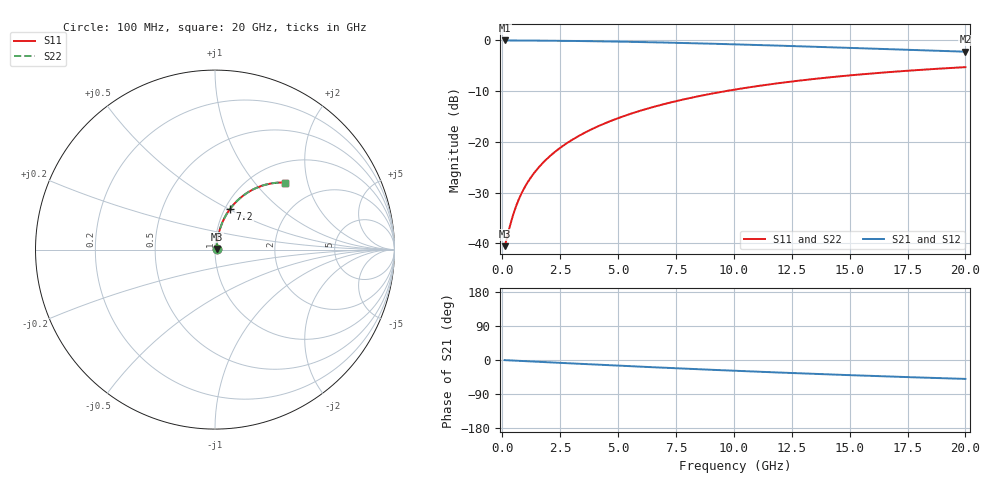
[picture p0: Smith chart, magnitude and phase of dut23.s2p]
! Touchstone file exported from HFSS 2024.1.0
!  File:  C:/UserFiles/LocalFiles/RDL_TSV_Batchsim/temp_RDL_bottom_23_1778691817.aedt
!  Generated:  01:06:07 AM May 14, 2026
!  Design:  RDL_bottom
!  Project:  temp_RDL_bottom_23_1778691817
!  Setup:  Setup1
!  Solution:  Sweep
! Variables:
!  dtsv = 10.80580581um
!  hbump = 3um
!  htsv = 93.98um
!  ldown = 628.28um
!  lrdl = 100um
!  p = 40
!  p1 = 52.46um
!  rhole = 1um
!  t = 450um
!  tdown = 2.02um
!  trdl = 3.915915916um
!  wdown = 12.77um
!  wrdl = 20um
# GHz S MA R 50.000000
! Terminal data exported
! Port[1] = RDL1_T1
! Port[2] = RDL1_T2
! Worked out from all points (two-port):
!   200 points, 100 MHz to 20 GHz, reference 50 ohm
!   highest |S21| = -0.08 dB at 100 MHz (marker M1); lowest = -2.3 dB at 20 GHz (marker M2)
!   |S21| within 3 dB of the highest: start of sweep to end of sweep
!   lowest |S11| = -40.5 dB at 100 MHz (marker M3), VSWR 1.02, Z = 50.9 + j0.366 ohm
!   |S11| at or under -10 dB: start of sweep to 9.697 GHz
!   |S22| runs from -40.5 to -5.3 dB; largest |S21 - S12| = 3.2e-15
!   S11 on the Smith chart (normalised r, x): 100 MHz: 1.02, +0.01; 7.2 GHz: 1.06, +0.51; 20 GHz: 1.39, +1.47
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0.1  0.009411 22.5  0.9913 -0.3  0.9913 -0.3  0.009411 22.5
! Gamma 0 0 0 0
! Port Impedance 50 0 50 0
0.4  0.01698 57.4  0.9909 -1.2  0.9909 -1.2  0.01698 57.4
0.6  0.02342 65.5  0.9905 -1.9  0.9905 -1.9  0.02342 65.5
0.7  0.02673 68.0  0.9902 -2.2  0.9902 -2.2  0.02673 68.0
0.9  0.03341 71.2  0.9897 -2.8  0.9897 -2.8  0.03341 71.2
1.2  0.04348 74.0  0.9887 -3.7  0.9887 -3.7  0.04348 74.0
1.4  0.0502 75.1  0.988 -4.3  0.988 -4.3  0.0502 75.1
1.7  0.06028 76.1  0.9869 -5.2  0.9869 -5.2  0.06028 76.1
2.2  0.0771 76.9  0.9848 -6.7  0.9848 -6.7  0.0771 76.9
2.8  0.09729 76.9  0.9818 -8.4  0.9818 -8.4  0.0973 76.9
3.5  0.1208 76.4  0.9776 -10.5  0.9776 -10.5  0.1208 76.4
4.2  0.1442 75.4  0.9725 -12.5  0.9725 -12.5  0.1442 75.4
5  0.1707 74.1  0.9659 -14.8  0.9659 -14.8  0.1707 74.1
5.9  0.2 72.4  0.9574 -17.4  0.9574 -17.4  0.2001 72.4
6.8  0.2288 70.5  0.948 -19.9  0.948 -19.9  0.2289 70.6
7.2  0.2414 69.7  0.9435 -21.0  0.9435 -21.0  0.2415 69.7
8.6  0.2842 66.7  0.9267 -24.7  0.9267 -24.7  0.2843 66.7
10.1  0.3276 63.3  0.9071 -28.6  0.9071 -28.6  0.3277 63.4
11.7  0.3709 59.8  0.885 -32.5  0.885 -32.5  0.371 59.9
13.4  0.4132 56.2  0.8608 -36.4  0.8608 -36.4  0.4133 56.2
16.7  0.4843 49.6  0.8137 -43.5  0.8137 -43.5  0.4845 49.6
20  0.5418 43.5  0.7686 -49.9  0.7686 -49.9  0.542 43.6
